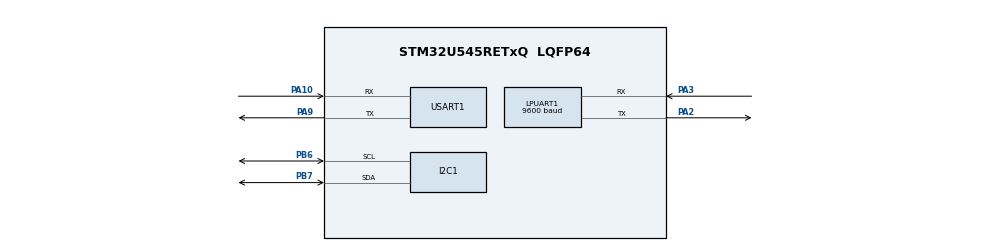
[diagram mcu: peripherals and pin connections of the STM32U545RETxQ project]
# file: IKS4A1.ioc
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CORTEX_M33_NS.userName=CORTEX_M33
I2C1.Timing=0x00000E14
LPUART1.BaudRate=9600
Mcu.Family=STM32U5
Mcu.Name=STM32U545RETxQ
Mcu.Package=LQFP64
NUCLEO-U545RE-Q.BUTTON=1
NUCLEO-U545RE-Q.Bsp_Common_DEMO=true
NUCLEO-U545RE-Q.LD2=true
NUCLEO-U545RE-Q.VCP=false
NVIC.EXTI13_IRQn=true\:0\:0\:false\:false\:true\:false\:true\:true
NVIC.PriorityGroup=NVIC_PRIORITYGROUP_4
PA10.Mode=Asynchronous
PA10.Signal=USART1_RX
PA2.Mode=Asynchronous
PA2.Signal=LPUART1_TX
PA3.Mode=Asynchronous
PA3.Signal=LPUART1_RX
PA9.Mode=Asynchronous
PA9.Signal=USART1_TX
PB6.Mode=I2C
PB6.Signal=I2C1_SCL
PB7.Mode=I2C
PB7.Signal=I2C1_SDA
PWR.PowerMode=PWR_SMPS_SUPPLY
ProjectManager.HeapSize=0x800
ProjectManager.StackSize=0x800
ProjectManager.TargetToolchain=Makefile
RCC.ADCFreq_Value=16000000
RCC.DACCLockSelectionVirtual=RCC_DAC1CLKSOURCE_LSI
RCC.DACCLockSelectionVirtualString=RCC_DAC1CLKSOURCE_LSI
RCC.EPOD_VALUE=4000000
RCC.HSE_VALUE=16000000
RCC.HSI48_VALUE=48000000
RCC.HSI_VALUE=16000000
RCC.LSE_VALUE=32768
RCC.LSIDIV_VALUE=32000
RCC.MSI_VALUE=4000000
RCC.USBFreq_Value=48000000
RCC.VCOOutputFreq_Value=516000000
STMicroelectronics.X-CUBE-AI.10.2.0.ActivationBufferSizeList=1032
STMicroelectronics.X-CUBE-AI.10.2.0.ActivationBuffers=pool0
STMicroelectronics.X-CUBE-AI.10.2.0.ActivationNames=pool0
STMicroelectronics.X-CUBE-AI.10.2.0.ActivationSizes=AI_NETWORK_DATA_ACTIVATION_1_SIZE
STMicroelectronics.X-CUBE-AI.10.2.0.ApplicationCcDeviceJjApplication=SystemPerformance
STMicroelectronics.X-CUBE-AI.10.2.0.HeapSize=0x800
STMicroelectronics.X-CUBE-AI.10.2.0.InternalRamActivationBufferMaxSize=AI_NETWORK_DATA_ACTIVATIONS_SIZE
STMicroelectronics.X-CUBE-AI.10.2.0.LatestDirectoryUsed-fa44eedae2cdffa6fa3b61848730d06aa9c28ad5f67a5e536a563d228ddab4fb=/home/benjaminavocat-maulaz/Documents/Projet_perso/MetAI/Models
STMicroelectronics.X-CUBE-AI.10.2.0.MaximumNumberOfInputLayer=1
STMicroelectronics.X-CUBE-AI.10.2.0.MaximumNumberOfOutputLayer=1
STMicroelectronics.X-CUBE-AI.10.2.0.MaximumSizeOfInputLayer=1
STMicroelectronics.X-CUBE-AI.10.2.0.MaximumSizeOfOutputLayer=1
STMicroelectronics.X-CUBE-AI.10.2.0.ModelActualCompression-fa44eedae2cdffa6fa3b61848730d06aa9c28ad5f67a5e536a563d228ddab4fb=0.0
STMicroelectronics.X-CUBE-AI.10.2.0.ModelCompression-fa44eedae2cdffa6fa3b61848730d06aa9c28ad5f67a5e536a563d228ddab4fb=None
STMicroelectronics.X-CUBE-AI.10.2.0.ModelFlashOccupation-fa44eedae2cdffa6fa3b61848730d06aa9c28ad5f67a5e536a563d228ddab4fb=34508
STMicroelectronics.X-CUBE-AI.10.2.0.ModelHashList=fa44eedae2cdffa6fa3b61848730d06aa9c28ad5f67a5e536a563d228ddab4fb
STMicroelectronics.X-CUBE-AI.10.2.0.ModelKind-fa44eedae2cdffa6fa3b61848730d06aa9c28ad5f67a5e536a563d228ddab4fb=TFLITE
STMicroelectronics.X-CUBE-AI.10.2.0.ModelMacc-fa44eedae2cdffa6fa3b61848730d06aa9c28ad5f67a5e536a563d228ddab4fb=11944
STMicroelectronics.X-CUBE-AI.10.2.0.ModelName-fa44eedae2cdffa6fa3b61848730d06aa9c28ad5f67a5e536a563d228ddab4fb=network
STMicroelectronics.X-CUBE-AI.10.2.0.ModelNameList=network
STMicroelectronics.X-CUBE-AI.10.2.0.ModelRamOccupation-fa44eedae2cdffa6fa3b61848730d06aa9c28ad5f67a5e536a563d228ddab4fb=6320
STMicroelectronics.X-CUBE-AI.10.2.0.ModelStructureFile-fa44eedae2cdffa6fa3b61848730d06aa9c28ad5f67a5e536a563d228ddab4fb=/home/benjaminavocat-maulaz/Documents/Projet_perso/MetAI/Models/metai_v3_int8.tflite
STMicroelectronics.X-CUBE-AI.10.2.0.ModelType-fa44eedae2cdffa6fa3b61848730d06aa9c28ad5f67a5e536a563d228ddab4fb=STM32Cube.AI MCU runtime
STMicroelectronics.X-CUBE-AI.10.2.0.ReadyForCodeGeneration=false
STMicroelectronics.X-CUBE-AI.10.2.0.StackSize=0x800
STMicroelectronics.X-CUBE-AI.10.2.0.WorkingBufferStartAddrList=0xFFFFFFFF
STMicroelectronics.X-CUBE-AI.10.2.0.XAaCUBEAaAICcArtificialOoIntelligenceJjCore=true
STMicroelectronics.X-CUBE-AI.10.2.0.copyWeightToRam=false
STMicroelectronics.X-CUBE-AI.10.2.0.customLayerConfigEnabled=false
STMicroelectronics.X-CUBE-AI.10.2.0.noOnnxIoTranspose=false
STMicroelectronics.X-CUBE-AI.10.2.0.useInputAllocation=true
STMicroelectronics.X-CUBE-AI.10.2.0.useOutputAllocation=true
USART1.VirtualMode-Asynchronous=VM_ASYNC
VP_ICACHE_VS_ICACHE.Mode=DirectMappedCache
VP_LPBAMQUEUE_VS_QUEUE.Mode=QUEUEMODE
VP_MEMORYMAP_VS_MEMORYMAP.Mode=CurAppReg
VP_NUCLEO-U545RE-Q_VS_BSP_COMMON.Mode=COMMON
VP_PWR_VS_LPOM.Mode=PowerOptimisation
VP_PWR_VS_SECSignals.Mode=Security/Privilege
VP_STMicroelectronics.X-CUBE-AI_VS_ArtificialOoIntelligenceJjXAaCUBEAaAI_10.2.0.Mode=ArtificialOoIntelligenceJjXAaCUBEAaAI
VP_STMicroelectronics.X-CUBE-AI_VS_DeviceJjApplication_10.2.0.Mode=DeviceJjApplication
board=NUCLEO-U545RE-Q

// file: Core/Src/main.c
/* USER CODE BEGIN Header */
/**
  ******************************************************************************
  * @file           : main.c
  * @brief          : Main program body
  ******************************************************************************
  * @attention
  *
  * Copyright (c) 2026 STMicroelectronics.
  * All rights reserved.
  *
  * This software is licensed under terms that can be found in the LICENSE file
  * in the root directory of this software component.
  * If no LICENSE file comes with this software, it is provided AS-IS.
  *
  ******************************************************************************
  */
/* USER CODE END Header */
#include "main.h"
#include "app_x-cube-ai.h"

/* USER CODE BEGIN Includes */
#include <math.h>
#include "metai_v3_config.h"
#include "lps22df_app.h"
#include "sht40x_driver_interface.h"
#include "stts22h_app.h"
#include "lora.h"
/* USER CODE END Includes */

__IO uint32_t BspButtonState = BUTTON_RELEASED;

I2C_HandleTypeDef hi2c1;

UART_HandleTypeDef hlpuart1;
UART_HandleTypeDef huart1;

/* USER CODE BEGIN PV */

static uint8_t s_downlink_ready = 0;

// Initialize the parameters of the model
uint32_t predicted_class = 0;
float confidence = 0.0f;

/* USER CODE END PV */

void SystemClock_Config(void);
static void SystemPower_Config(void);
static void MX_GPIO_Init(void);
static void MX_ICACHE_Init(void);
static void MX_I2C1_Init(void);
static void MX_LPUART1_UART_Init(void);
static void MX_USART1_UART_Init(void);

int main(void)
{

  /* MCU Configuration--------------------------------------------------------*/

  /* Reset of all peripherals, Initializes the Flash interface and the Systick. */
  HAL_Init();

  /* Configure the System Power */
  SystemPower_Config();

  /* Configure the system clock */
  SystemClock_Config();

  /* Initialize all configured peripherals */
  MX_GPIO_Init();
  MX_ICACHE_Init();
  MX_I2C1_Init();
  MX_LPUART1_UART_Init();
  MX_USART1_UART_Init();
  MX_X_CUBE_AI_Init();

  /* Initialize led */
  BSP_LED_Init(LED_GREEN);

  /* Initialize USER push-button, will be used to trigger an interrupt each time it's pressed.*/
  BSP_PB_Init(BUTTON_USER, BUTTON_MODE_EXTI);

  /* USER CODE BEGIN BSP */

  /* -- Sample board code to send message over COM1 port ---- */
  printf("Welcome to STM32 world !\r \n");

  /* -- Sample board code to switch on led ---- */
  BSP_LED_On(LED_GREEN);

  /* USER CODE END BSP */

  /* Infinite loop */
  /* USER CODE BEGIN WHILE */

  // Configure the LoRa module
  printf("Lora module configuration\r\n");
  config_Lora();

  // Print the list of I2C devices found on the I2C1 bus (IKS4A1)
  printf("Scanning I2C1 bus for devices...\r\n");
  uint8_t i2c1_buffer[1];
  for (uint16_t i = 1; i < 128; i++)
  {
    if (HAL_I2C_Master_Receive(&hi2c1, (i << 1), i2c1_buffer, 1, 100) == HAL_OK)
    {
      printf("Device found at address 0x%02X\r\n", i);
    }
  }

  // Initialize the STTS22H temperature sensor
  STTS22H_Object_t stts22h_obj = {0};
  Temperature_Init(&stts22h_obj);

  // Initialize the LPS22DF pressure sensor
  lps22df_data_t lps22df_data = {0};
  Pressure_Init();

  // Initialize the SHT40 temperature and humidity sensor
  sht40x_data_t sht40x_data = {0};
  if (sht40x_basic_initialize(SHT40_AD1B_VARIANT) != 0)
  {
    printf("Failed to initialize SHT40 sensor\r\n");
  }
  else
  {
    printf("SHT40 sensor initialized successfully\r\n");
  }

  while (1)
  {

    // Switch on the LED to indicate that we are about to read the sensors
    BSP_LED_On(LED_GREEN);

    // Reveille le lora
    lora_WakeUp();
    HAL_Delay(100); // Wait for the LoRa module to wake up before sending AT commands

    // Read temperature from the STTS22H sensor and print it
    float temperature;
    Temperature_Read(&stts22h_obj, &temperature);

    // Read pressure and temperature from the LPS22DF sensor and store them
    float pressure, temperature_lps22df;
    Pressure_Read(lps22df_data, &pressure, &temperature_lps22df);

    // Read temperature and humidity from the SHT40 sensor and print them
    float temperature_sht40x, humidity;
    Humidity_Temperature_Read(&sht40x_data, &temperature_sht40x, &humidity);

    // Print the sensor readings
    printf("############################################################\r \n");
    printf("STTS22H Temperature: %.2f C\r \n", temperature);
    printf("LPS22DF Pressure: %.2f hPa\r \n", pressure);
    printf("SHT40 Humidity: %.2f %%\r \n", humidity);
    printf("############################################################\r \n");
    printf("\r \n");

    /* Uplink */
    lora_envoi_data(temperature, pressure, humidity); // uplink + capture réponse

    // Pas de délai supplémentaire : le timeout de 8s dans lora_envoi_data()
    // a déjà attendu les fenêtres RX1 et RX2

    metai_downlink_t dl = {0};
    /* --- Alimentation du modèle MetAI --- */
    // Convert Absolute Pressure to Mean Sea Level Pressure (MSLP) for 420m altitude
    float altitude_m = 420.0f;
    float pressure_mslp = pressure * powf(1.0f - (0.0065f * altitude_m) / (temperature + 0.0065f * altitude_m + 273.15f), -5.257f);

    MetAI_PushSample(temperature, pressure_mslp, humidity);

    if (lora_ReceiveDownlink(&dl))
    {
        // Convert historical absolute pressures to MSLP using their respective temperatures
        float pres_3h_mslp = dl.pres_3h * powf(1.0f - (0.0065f * altitude_m) / (dl.temp_3h + 0.0065f * altitude_m + 273.15f), -5.257f);
        float pres_6h_mslp = dl.pres_6h * powf(1.0f - (0.0065f * altitude_m) / (dl.temp_6h + 0.0065f * altitude_m + 273.15f), -5.257f);

        metai_sample_t t0  = { temperature, pressure_mslp, humidity,  HAL_GetTick() };
        metai_sample_t t3h = { dl.temp_3h,  pres_3h_mslp, dl.hum_3h, 0 };
        metai_sample_t t6h = { dl.temp_6h,  pres_6h_mslp, dl.hum_6h, 0 };

        MetAI_SeedHistory(t0, t3h, t6h);
        s_downlink_ready = 1;

        printf("=== Downlink recu (fport 11) ===\r\n");
        printf("  t0  : %.2f C  %.2f hPa  %.2f %%\r\n", t0.temp,  t0.pres,  t0.rhum);
        printf("  t3h : %.2f C  %.2f hPa  %.2f %%\r\n", t3h.temp, t3h.pres, t3h.rhum);
        printf("  t6h : %.2f C  %.2f hPa  %.2f %%\r\n", t6h.temp, t6h.pres, t6h.rhum);
    }
    else if (!s_downlink_ready)
    {
        printf("=== Downlink non recu : attente des valeurs t-3h/t-6h ===\r\n");

        /*
        // If the database is empty do this to verify the model is working
        printf("=== Utilisation de valeurs arbitraires === \r \n");

        // Convert historical absolute pressures to MSLP using their respective temperatures
        float pres_3h_mslp = dl.pres_3h * powf(1.0f - (0.0065f * altitude_m) / (dl.temp_3h + 0.0065f * altitude_m + 273.15f), -5.257f);
        float pres_6h_mslp = dl.pres_6h * powf(1.0f - (0.0065f * altitude_m) / (dl.temp_6h + 0.0065f * altitude_m + 273.15f), -5.257f);

        metai_sample_t t0  = { temperature, pressure_mslp, humidity,  HAL_GetTick() };
        metai_sample_t t3h = { dl.temp_3h,  pres_3h_mslp, dl.hum_3h, 0 };
        metai_sample_t t6h = { dl.temp_6h,  pres_6h_mslp, dl.hum_6h, 0 };
        metai_sample_t t3h = { 22,  968, 40, 0 };
        metai_sample_t t6h = { 26,  968, 27, 0 };

        MetAI_SeedHistory(t0, t3h, t6h);
        s_downlink_ready = 1;

        printf("  t0  : %.2f C  %.2f hPa  %.2f %%\r\n", t0.temp,  t0.pres,  t0.rhum);
        printf("  t3h : %.2f C  %.2f hPa  %.2f %%\r\n", t3h.temp, t3h.pres, t3h.rhum);
        printf("  t6h : %.2f C  %.2f hPa  %.2f %%\r\n", t6h.temp, t6h.pres, t6h.rhum);
        */
    }

    /* Inférence — no-op tant que l'historique n'est pas prêt */
    MX_X_CUBE_AI_Process();

    // Envoie la prédiction du modele avec le lora
    lora_envoi_prediction(g_metai_class, (uint8_t)(g_metai_confidence * 100.0f));

    // Met le lora en sleep
    lora_Sleep();

    // Switch off the LED to indicate that we have finished reading the sensors
    BSP_LED_Off(LED_GREEN);

    HAL_Delay(20000);

    /* USER CODE END WHILE */

  }
}

void SystemClock_Config(void)
{
  RCC_OscInitTypeDef RCC_OscInitStruct = {0};
  RCC_ClkInitTypeDef RCC_ClkInitStruct = {0};

  /** Configure the main internal regulator output voltage
  */
  if (HAL_PWREx_ControlVoltageScaling(PWR_REGULATOR_VOLTAGE_SCALE4) != HAL_OK)
  {
    Error_Handler();
  }

  /** Initializes the CPU, AHB and APB buses clocks
  */
  RCC_OscInitStruct.OscillatorType = RCC_OSCILLATORTYPE_MSI;
  RCC_OscInitStruct.MSIState = RCC_MSI_ON;
  RCC_OscInitStruct.MSICalibrationValue = RCC_MSICALIBRATION_DEFAULT;
  RCC_OscInitStruct.MSIClockRange = RCC_MSIRANGE_4;
  RCC_OscInitStruct.PLL.PLLState = RCC_PLL_NONE;
  if (HAL_RCC_OscConfig(&RCC_OscInitStruct) != HAL_OK)
  {
    Error_Handler();
  }

  /** Initializes the CPU, AHB and APB buses clocks
  */
  RCC_ClkInitStruct.ClockType = RCC_CLOCKTYPE_HCLK|RCC_CLOCKTYPE_SYSCLK
                              |RCC_CLOCKTYPE_PCLK1|RCC_CLOCKTYPE_PCLK2
                              |RCC_CLOCKTYPE_PCLK3;
  RCC_ClkInitStruct.SYSCLKSource = RCC_SYSCLKSOURCE_MSI;
  RCC_ClkInitStruct.AHBCLKDivider = RCC_SYSCLK_DIV1;
  RCC_ClkInitStruct.APB1CLKDivider = RCC_HCLK_DIV1;
  RCC_ClkInitStruct.APB2CLKDivider = RCC_HCLK_DIV1;
  RCC_ClkInitStruct.APB3CLKDivider = RCC_HCLK_DIV1;

  if (HAL_RCC_ClockConfig(&RCC_ClkInitStruct, FLASH_LATENCY_0) != HAL_OK)
  {
    Error_Handler();
  }
}

/**
  * @brief Power Configuration
  * @retval None
  */
static void SystemPower_Config(void)
{

  /*
   * Switch to SMPS regulator instead of LDO
   */
  if (HAL_PWREx_ConfigSupply(PWR_SMPS_SUPPLY) != HAL_OK)
  {
    Error_Handler();
  }
}

static void MX_I2C1_Init(void)
{

  hi2c1.Instance = I2C1;
  hi2c1.Init.Timing = 0x00000E14;
  hi2c1.Init.OwnAddress1 = 0;
  hi2c1.Init.AddressingMode = I2C_ADDRESSINGMODE_7BIT;
  hi2c1.Init.DualAddressMode = I2C_DUALADDRESS_DISABLE;
  hi2c1.Init.OwnAddress2 = 0;
  hi2c1.Init.OwnAddress2Masks = I2C_OA2_NOMASK;
  hi2c1.Init.GeneralCallMode = I2C_GENERALCALL_DISABLE;
  hi2c1.Init.NoStretchMode = I2C_NOSTRETCH_DISABLE;
  if (HAL_I2C_Init(&hi2c1) != HAL_OK)
  {
    Error_Handler();
  }

  /** Configure Analogue filter
  */
  if (HAL_I2CEx_ConfigAnalogFilter(&hi2c1, I2C_ANALOGFILTER_ENABLE) != HAL_OK)
  {
    Error_Handler();
  }

  /** Configure Digital filter
  */
  if (HAL_I2CEx_ConfigDigitalFilter(&hi2c1, 0) != HAL_OK)
  {
    Error_Handler();
  }

}

static void MX_ICACHE_Init(void)
{

  /** Enable instruction cache in 1-way (direct mapped cache)
  */
  if (HAL_ICACHE_ConfigAssociativityMode(ICACHE_1WAY) != HAL_OK)
  {
    Error_Handler();
  }
  if (HAL_ICACHE_Enable() != HAL_OK)
  {
    Error_Handler();
  }

}

static void MX_LPUART1_UART_Init(void)
{

  hlpuart1.Instance = LPUART1;
  hlpuart1.Init.BaudRate = 9600;
  hlpuart1.Init.WordLength = UART_WORDLENGTH_8B;
  hlpuart1.Init.StopBits = UART_STOPBITS_1;
  hlpuart1.Init.Parity = UART_PARITY_NONE;
  hlpuart1.Init.Mode = UART_MODE_TX_RX;
  hlpuart1.Init.HwFlowCtl = UART_HWCONTROL_NONE;
  hlpuart1.Init.OneBitSampling = UART_ONE_BIT_SAMPLE_DISABLE;
  hlpuart1.Init.ClockPrescaler = UART_PRESCALER_DIV1;
  hlpuart1.AdvancedInit.AdvFeatureInit = UART_ADVFEATURE_NO_INIT;
  hlpuart1.FifoMode = UART_FIFOMODE_DISABLE;
  if (HAL_UART_Init(&hlpuart1) != HAL_OK)
  {
    Error_Handler();
  }
  if (HAL_UARTEx_SetTxFifoThreshold(&hlpuart1, UART_TXFIFO_THRESHOLD_1_8) != HAL_OK)
  {
    Error_Handler();
  }
  if (HAL_UARTEx_SetRxFifoThreshold(&hlpuart1, UART_RXFIFO_THRESHOLD_1_8) != HAL_OK)
  {
    Error_Handler();
  }
  if (HAL_UARTEx_DisableFifoMode(&hlpuart1) != HAL_OK)
  {
    Error_Handler();
  }

}

static void MX_USART1_UART_Init(void)
{

  huart1.Instance = USART1;
  huart1.Init.BaudRate = 115200;
  huart1.Init.WordLength = UART_WORDLENGTH_8B;
  huart1.Init.StopBits = UART_STOPBITS_1;
  huart1.Init.Parity = UART_PARITY_NONE;
  huart1.Init.Mode = UART_MODE_TX_RX;
  huart1.Init.HwFlowCtl = UART_HWCONTROL_NONE;
  huart1.Init.OverSampling = UART_OVERSAMPLING_16;
  huart1.Init.OneBitSampling = UART_ONE_BIT_SAMPLE_DISABLE;
  huart1.Init.ClockPrescaler = UART_PRESCALER_DIV1;
  huart1.AdvancedInit.AdvFeatureInit = UART_ADVFEATURE_NO_INIT;
  if (HAL_UART_Init(&huart1) != HAL_OK)
  {
    Error_Handler();
  }
  if (HAL_UARTEx_SetTxFifoThreshold(&huart1, UART_TXFIFO_THRESHOLD_1_8) != HAL_OK)
  {
    Error_Handler();
  }
  if (HAL_UARTEx_SetRxFifoThreshold(&huart1, UART_RXFIFO_THRESHOLD_1_8) != HAL_OK)
  {
    Error_Handler();
  }
  if (HAL_UARTEx_DisableFifoMode(&huart1) != HAL_OK)
  {
    Error_Handler();
  }

}

static void MX_GPIO_Init(void)
{

  /* GPIO Ports Clock Enable */
  __HAL_RCC_GPIOA_CLK_ENABLE();
  __HAL_RCC_GPIOB_CLK_ENABLE();

}

/* USER CODE BEGIN 4 */
int __io_putchar(int ch)
{
  HAL_UART_Transmit(&huart1, (uint8_t *)&ch, 1, HAL_MAX_DELAY);
  return ch;
}
/* USER CODE END 4 */

/**
  * @brief BSP Push Button callback
  * @param Button Specifies the pressed button
  * @retval None
  */
void BSP_PB_Callback(Button_TypeDef Button)
{
  if (Button == BUTTON_USER)
  {
    BspButtonState = BUTTON_PRESSED;
  }
}

void Error_Handler(void)
{
  __disable_irq();
  while (1)
  {
  }
}
